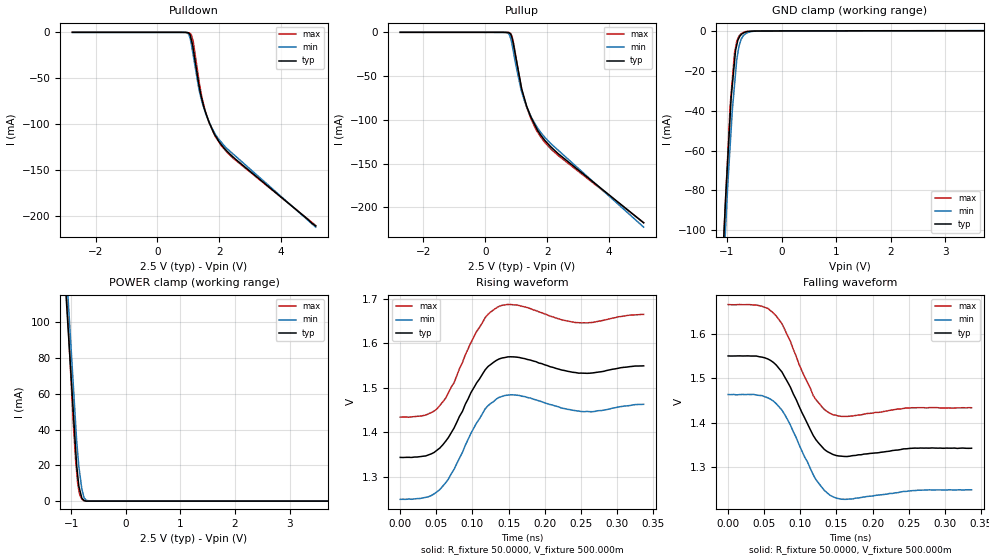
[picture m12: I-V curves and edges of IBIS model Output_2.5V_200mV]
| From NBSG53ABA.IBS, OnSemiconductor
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[Model] Output_2.5V_200mV
Model_type Output_ECL
Vref=0.50000V
Rref=50.0000ohms
Cref=0.00000pF
Vmeas=1.44000V
C_comp 500.0fF 500.0fF 500.0fF
[Model Spec]
Vmeas 1.446725   1.356325   1.549505
|Vref  0.50000V  0.3750V  0.6250V
|Rref  50ohms   50ohms   50ohms
|Cref  0.00pF   0.00pF   0.00pF
| variable typ   min   max
[Voltage Range]   2.50000V  2.37500V  2.62500V
[POWER Clamp Reference] 2.50000V  2.37500V  2.62500V
[Pullup Reference]   2.50000V  2.37500V  2.62500V
[Pulldown Reference]   2.50000V  2.37500V  2.62500V
[GND Clamp Reference]   0.00000V  0.00000V  0.00000V
[Temperature Range]  25   85   0
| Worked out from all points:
|   GND clamp passes 1 mA (typ) near -0.69 V on its own axis
|   POWER clamp passes 1 mA (typ) near -0.78 V on its own axis
|   falling waveform, R_fixture 50.0000, V_fixture 500.000m: 20-80 % time 37.6ps typ, 37.8ps min, 37.5ps max; typ from 1.55 V to 1.34 V
|   rising waveform, R_fixture 50.0000, V_fixture 500.000m: 20-80 % time 39.7ps typ, 40ps min, 39.4ps max; typ from 1.34 V to 1.55 V
[GND Clamp]
-2.5V     -951.2mA   -900.6mA   -924.6mA
-1.023V   -83.45mA   -98.42mA   -84.05mA
-982.5mV  -63.35mA   -76.39mA   -60.96mA
-942mV    -43.26mA   -58.15mA   -37.89mA
-921.8mV  -33.22mA   -49.04mA   -31.19mA
-901.4mV  -27.3mA    -39.9mA    -24.47mA
-861.1mV  -15.53mA   -27.25mA   -11.14mA
-841mV    -9.677mA   -20.96mA   -8.233mA
-820.9mV  -7.222mA   -14.63mA   -5.313mA
-780.5mV  -3.632mA   -7.756mA   -2.645mA
-679.2mV  -828.6uA   -1.919mA   -548.7uA
5V        51.31uA    169.4uA    52.08uA
[Pulldown]
-2.75V    47.33uA    40.72uA    31.06uA
871.9mV   -1.516uA   7.004uA    -30.93uA
993.5mV   -407.7uA   -1.195mA   -367.4uA
1.067V    -3.551mA   -7.335mA   -1.262mA
1.162V    -18.34mA   -25.09mA   -10.01mA
1.352V    -58.26mA   -63.2mA    -53.78mA
1.454V    -74.35mA   -76.94mA   -72.42mA
1.683V    -98.71mA   -98mA      -99.01mA
1.873V    -112.4mA   -111mA     -113.3mA
2.083V    -122.9mA   -120.2mA   -124.1mA
2.463V    -136.2mA   -132.9mA   -137.4mA
5.125V    -211mA     -212.3mA   -210.5mA
[Pullup]
-2.75V    28.11uA    30.67uA    19.88uA
739.6mV   -129.6uA   -895.9uA   -95.79uA
820.3mV   -1.954mA   -6.705mA   -1.267mA
901.3mV   -11.57mA   -20.36mA   -9.539mA
1.159V    -60.86mA   -65.65mA   -61.14mA
1.26V     -74.7mA    -77.32mA   -75.93mA
1.341V    -84.57mA   -84.97mA   -85.73mA
1.477V    -96.88mA   -95.99mA   -98.57mA
1.639V    -108.3mA   -106.1mA   -110.9mA
1.781V    -116.6mA   -113.7mA   -119mA
2.357V    -138.7mA   -134.7mA   -140.7mA
5.125V    -217.8mA   -222.7mA   -217.6mA
[POWER Clamp]
-2.75V    928.3mA    974.9mA    1.096A
-2.25V    683.1mA    720.8mA    802.4mA
-1.06V    99.63mA    116.2mA    102.9mA
-999.8mV  69.85mA    85.4mA     67.18mA
-959.7mV  50.18mA    65.02mA    43.6mA
-919.2mV  30.32mA    44.43mA    23.77mA
-898.7mV  20.26mA    34.01mA    16.74mA
-858.5mV  8.468mA    19.47mA    6.125mA
-803.3mV  1.652mA    6.733mA    1.055mA
-763mV    380uA      1.852mA    232.5uA
-361.2mV  0A         6.201uA    275.7nA
5.125V    0A         0A         0A
[Falling Waveform]
R_fixture = 50.0000
V_fixture = 500.000m
V_fixture_min = 375.000m
V_fixture_max = 625.000m
0s        1.55V      1.464V     1.665V
43.1ps    1.548V     1.462V     1.663V
66.6ps    1.53V      1.443V     1.64V
86.2ps    1.48V      1.395V     1.583V
117.6ps   1.372V     1.284V     1.462V
133.3ps   1.34V      1.248V     1.43V
145ps     1.329V     1.234V     1.418V
164.6ps   1.324V     1.228V     1.415V
246.9ps   1.342V     1.246V     1.433V
337.1ps   1.343V     1.25V      1.434V
[Rising Waveform]
R_fixture = 50.0000
V_fixture = 500.000m
V_fixture_min = 375.000m
V_fixture_max = 625.000m
0s        1.343V     1.249V     1.434V
35.3ps    1.347V     1.254V     1.439V
50.9ps    1.36V      1.266V     1.453V
74.5ps    1.409V     1.317V     1.511V
105.8ps   1.511V     1.421V     1.627V
121.5ps   1.548V     1.46V      1.665V
137.2ps   1.565V     1.479V     1.683V
164.6ps   1.568V     1.483V     1.685V
243ps     1.534V     1.449V     1.647V
337.1ps   1.549V     1.463V     1.665V
[Ramp]
| variable typ min max
dV/dt_r 123.041m/39.6335p 129.493m/40.1408p 139.301m/40.1615p
dV/dt_f 123.041m/37.2065p 129.493m/38.3371p 139.301m/37.9071p
R_load = 50.0000Ohms
